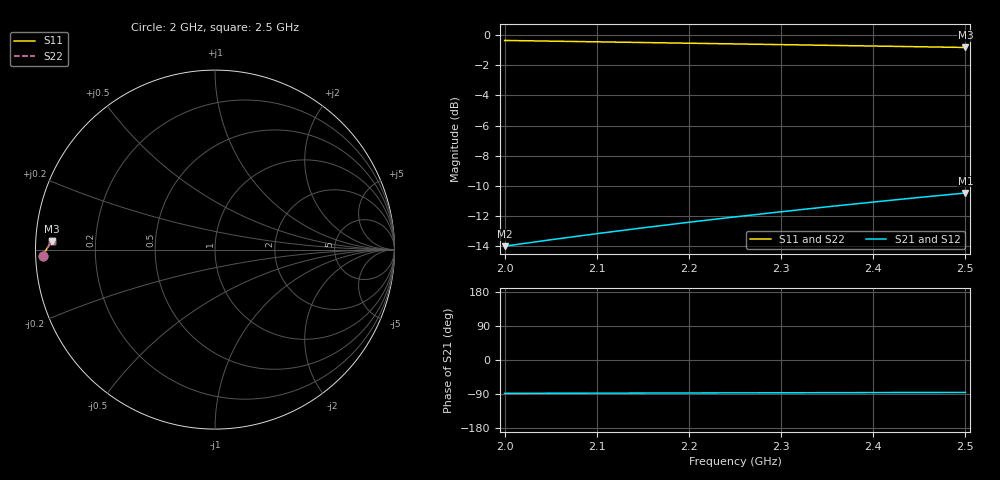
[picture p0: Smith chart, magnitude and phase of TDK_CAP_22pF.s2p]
! TDK 22pF capacitor S2P
! Simulated S-parameters for a 22pF capacitor
! Frequency: 2.0 - 2.5 GHz
# GHz S MA R 50
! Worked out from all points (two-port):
!   11 points, 2 GHz to 2.5 GHz, reference 50 ohm
!   highest |S21| = -10.46 dB at 2.5 GHz (marker M1); lowest = -14.0 dB at 2 GHz (marker M2)
!   |S21| within 3 dB of the highest: 2.062 GHz to end of sweep
!   lowest |S11| = -0.8 dB at 2.5 GHz (marker M3), VSWR 21.22, Z = 2.36 + j1.31 ohm
!   |S11| at or under -10 dB: nowhere
!   |S22| runs from -0.8 to -0.4 dB; largest |S21 - S12| = 0
2  0.96 -178.0  0.2 -88.0  0.2 -88.0  0.96 -178.0
2.05  0.955 -178.5  0.21 -87.8  0.21 -87.8  0.955 -178.5
2.1  0.95 -179.0  0.22 -87.5  0.22 -87.5  0.95 -179.0
2.15  0.945 -179.5  0.23 -87.2  0.23 -87.2  0.945 -179.5
2.2  0.94 180.0  0.24 -87.0  0.24 -87.0  0.94 180.0
2.25  0.935 179.5  0.25 -86.8  0.25 -86.8  0.935 179.5
2.3  0.93 179.0  0.26 -86.5  0.26 -86.5  0.93 179.0
2.35  0.925 178.5  0.27 -86.2  0.27 -86.2  0.925 178.5
2.4  0.92 178.0  0.28 -86.0  0.28 -86.0  0.92 178.0
2.45  0.915 177.5  0.29 -85.8  0.29 -85.8  0.915 177.5
2.5  0.91 177.0  0.3 -85.5  0.3 -85.5  0.91 177.0
